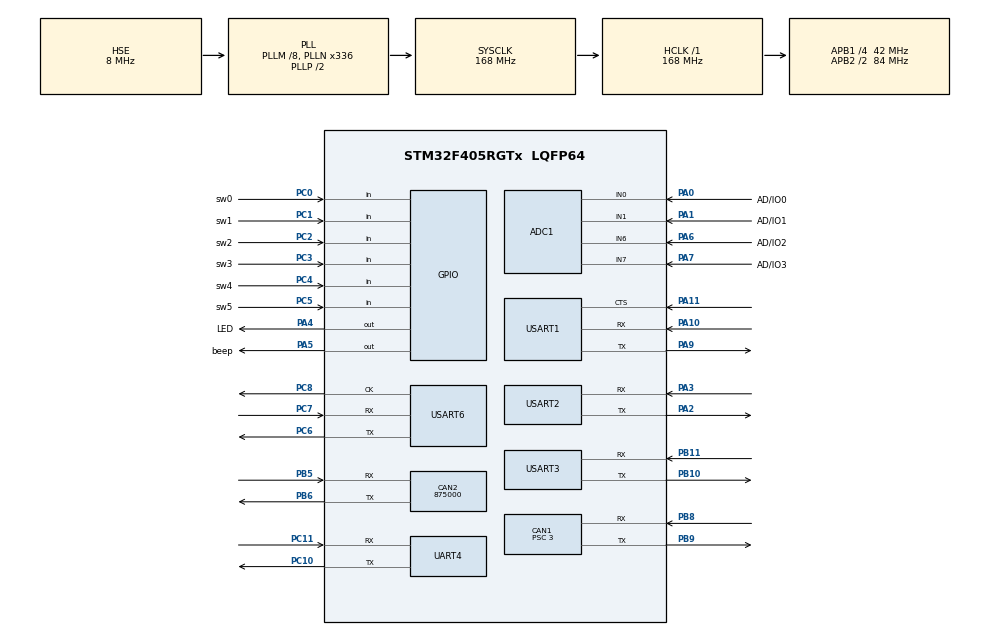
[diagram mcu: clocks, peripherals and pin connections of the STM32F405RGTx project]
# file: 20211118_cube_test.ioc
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ADC1.Channel-2\#ChannelRegularConversion=ADC_CHANNEL_1
ADC1.Channel-3\#ChannelRegularConversion=ADC_CHANNEL_0
ADC1.ContinuousConvMode=DISABLE
ADC1.DiscontinuousConvMode=ENABLE
ADC1.NbrOfConversion=2
ADC1.NbrOfConversionFlag=1
ADC1.Rank-2\#ChannelRegularConversion=1
ADC1.Rank-3\#ChannelRegularConversion=2
ADC1.SamplingTime-2\#ChannelRegularConversion=ADC_SAMPLETIME_480CYCLES
ADC1.SamplingTime-3\#ChannelRegularConversion=ADC_SAMPLETIME_3CYCLES
ADC1.ScanConvMode=ENABLE
ADC1.master=1
CAN1.BS1=CAN_BS1_9TQ
CAN1.BS2=CAN_BS2_4TQ
CAN1.CalculateBaudRate=1000000
CAN1.CalculateTimeBit=1000
CAN1.CalculateTimeQuantum=71.42857142857143
CAN1.Prescaler=3
CAN2.BS1=CAN_BS1_1TQ
CAN2.BS2=CAN_BS2_1TQ
CAN2.CalculateBaudRate=875000
CAN2.CalculateTimeBit=1142
CAN2.CalculateTimeQuantum=380.95238095238096
Mcu.Family=STM32F4
Mcu.Name=STM32F405RGTx
Mcu.Package=LQFP64
NVIC.CAN1_RX0_IRQn=true\:0\:0\:false\:false\:true\:true\:true\:true
NVIC.CAN1_TX_IRQn=true\:0\:0\:false\:false\:true\:true\:true\:true
NVIC.PriorityGroup=NVIC_PRIORITYGROUP_4
NVIC.TIM2_IRQn=true\:0\:0\:false\:false\:true\:true\:true\:true
NVIC.UART4_IRQn=true\:0\:0\:false\:true\:true\:1\:true\:true\:true
NVIC.USART3_IRQn=true\:0\:0\:false\:true\:true\:2\:true\:true\:true
PA0-WKUP.GPIO_Label=AD/IO0
PA0-WKUP.GPIO_Mode=GPIO_MODE_ANALOG
PA0-WKUP.Signal=ADCx_IN0
PA1.GPIO_Label=AD/IO1
PA1.Signal=ADCx_IN1
PA10.Mode=Asynchronous
PA10.Signal=USART1_RX
PA11.Mode=CTS_Only
PA11.Signal=USART1_CTS
PA13.Mode=JTAG_5_pins
PA13.Signal=SYS_JTMS-SWDIO
PA14.Mode=JTAG_5_pins
PA14.Signal=SYS_JTCK-SWCLK
PA15.Mode=JTAG_5_pins
PA15.Signal=SYS_JTDI
PA2.Mode=Asynchronous
PA2.Signal=USART2_TX
PA3.Mode=Asynchronous
PA3.Signal=USART2_RX
PA4.GPIO_Label=LED
PA4.Signal=GPIO_Output
PA5.GPIO_Label=beep
PA5.Signal=GPIO_Output
PA6.GPIO_Label=AD/IO2
PA6.Signal=ADCx_IN6
PA7.GPIO_Label=AD/IO3
PA7.Signal=ADCx_IN7
PA9.Mode=Asynchronous
PA9.Signal=USART1_TX
PB10.Mode=Asynchronous
PB10.Signal=USART3_TX
PB11.Mode=Asynchronous
PB11.Signal=USART3_RX
PB3.Mode=JTAG_5_pins
PB3.Signal=SYS_JTDO-SWO
PB4.Mode=JTAG_5_pins
PB4.Signal=SYS_JTRST
PB5.Mode=CAN_Activate
PB5.Signal=CAN2_RX
PB6.Mode=CAN_Activate
PB6.Signal=CAN2_TX
PB8.Mode=CAN_Activate
PB8.Signal=CAN1_RX
PB9.Mode=CAN_Activate
PB9.Signal=CAN1_TX
PC0.GPIO_Label=sw0
PC0.Signal=GPIO_Input
PC1.GPIO_Label=sw1
PC1.Signal=GPIO_Input
PC10.Mode=Asynchronous
PC10.Signal=UART4_TX
PC11.Mode=Asynchronous
PC11.Signal=UART4_RX
PC13-ANTI_TAMP.Signal=RTC_AF1
PC2.GPIO_Label=sw2
PC2.Signal=GPIO_Input
PC3.GPIO_Label=sw3
PC3.Signal=GPIO_Input
PC4.GPIO_Label=sw4
PC4.Signal=GPIO_Input
PC5.GPIO_Label=sw5
PC5.Signal=GPIO_Input
PC6.Mode=Synchronous
PC6.Signal=USART6_TX
PC7.Mode=Synchronous
PC7.Signal=USART6_RX
PC8.Mode=Synchronous
PC8.Signal=USART6_CK
PH0-OSC_IN.Mode=HSE-External-Oscillator
PH0-OSC_IN.Signal=RCC_OSC_IN
PH1-OSC_OUT.Mode=HSE-External-Oscillator
PH1-OSC_OUT.Signal=RCC_OSC_OUT
ProjectManager.HeapSize=0x200
ProjectManager.StackSize=0x400
ProjectManager.TargetToolchain=STM32CubeIDE
RCC.48MHZClocksFreq_Value=48000000
RCC.AHBFreq_Value=168000000
RCC.APB1CLKDivider=RCC_HCLK_DIV4
RCC.APB1Freq_Value=42000000
RCC.APB1TimFreq_Value=84000000
RCC.APB2CLKDivider=RCC_HCLK_DIV2
RCC.APB2Freq_Value=84000000
RCC.APB2TimFreq_Value=168000000
RCC.CortexFreq_Value=168000000
RCC.HCLKFreq_Value=168000000
RCC.HSE_VALUE=8000000
RCC.HSI_VALUE=16000000
RCC.LSE_VALUE=32768
RCC.PLLM=8
RCC.PLLN=336
RCC.PLLQ=7
RCC.PLLSourceVirtual=RCC_PLLSOURCE_HSE
RCC.RCC_RTC_Clock_Source=RCC_RTCCLKSOURCE_LSI
RCC.RCC_RTC_Clock_SourceVirtual=RCC_RTCCLKSOURCE_LSI
RCC.SYSCLKFreq_VALUE=168000000
RCC.SYSCLKSource=RCC_SYSCLKSOURCE_PLLCLK
RCC.VCOOutputFreq_Value=336000000
SH.ADCx_IN0.0=ADC1_IN0,IN0
SH.ADCx_IN1.0=ADC1_IN1,IN1
SH.ADCx_IN6.0=ADC1_IN6,IN6
SH.ADCx_IN7.0=ADC1_IN7,IN7
TIM2.AutoReloadPreload=TIM_AUTORELOAD_PRELOAD_ENABLE
TIM2.Period=41999
TIM2.Prescaler=1
UART4.VirtualMode=Asynchronous
USART1.VirtualMode=VM_ASYNC
USART2.VirtualMode=VM_ASYNC
USART3.VirtualMode=VM_ASYNC
USART6.VirtualMode=VM_SYNC
VP_RNG_VS_RNG.Mode=RNG_Activate
VP_TIM2_VS_ClockSourceINT.Mode=Internal
board=custom

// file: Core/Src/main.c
/* USER CODE BEGIN Header */
/**
 ******************************************************************************
 * @file           : main.c
 * @brief          : Main program body
 ******************************************************************************
 * @attention
 *
 * <h2><center>&copy; Copyright (c) 2021 STMicroelectronics.
 * All rights reserved.</center></h2>
 *
 * This software component is licensed by ST under BSD 3-Clause license,
 * the "License"; You may not use this file except in compliance with the
 * License. You may obtain a copy of the License at:
 *                        opensource.org/licenses/BSD-3-Clause
 *
 ******************************************************************************
 */
/* USER CODE END Header */
#include "main.h"

/* USER CODE BEGIN Includes */
#include <math.h>
#include <stdio.h>
#include <string.h>
#include <stdlib.h>
/* USER CODE END Includes */

ADC_HandleTypeDef hadc1;

CAN_HandleTypeDef hcan1;
CAN_HandleTypeDef hcan2;

RNG_HandleTypeDef hrng;

TIM_HandleTypeDef htim2;

UART_HandleTypeDef huart4;
UART_HandleTypeDef huart1;
UART_HandleTypeDef huart2;
UART_HandleTypeDef huart3;
USART_HandleTypeDef husart6;

/* USER CODE BEGIN PV */

//Tx(Transmitter)
CAN_TxHeaderTypeDef L_MOTOR_ID;  //left motor id
CAN_TxHeaderTypeDef R_MOTOR_ID;  //right motor id

//Rx(Receiver)
CAN_FilterTypeDef sFilterConfig;   // Filter Settings Structure Variables
CAN_RxHeaderTypeDef RxHeader;      //Can Receive Header
uint8_t RxData[8];                 //Can Receive data save

////status
//uint16_t status[2][4] = { 0 };
//uint32_t status_l = 0;
//uint32_t status_r = 0;

//Encoder position variable
uint16_t encoder[2][4] = { 0 }; //Receive encoder data
uint32_t encoder_10_l = 0; //left motor encoder
uint32_t encoder_10_r = 0; //right motor encoder
double encoder_angle_l = 0; //left motor angle
double encoder_angle_r = 0; //right motor angle
float cnt_to_angle = 0.001758;
float deg_l = 0; //left motor degree
float deg_r = 0; //right motor degree

float vel_l = 0.0;
float vel2_l = 0.0;
float vel_r = 0.0;

float ivel_l = 0.0;
float ivel_r = 0.0;
float pre_vel_l = 0.0;
float pre_vel_r = 0.0;
float ivel_l_max = 0.0;
float ivel_r_max = 0.0;
float ivel_l_min = 0.0;
float ivel_r_min = 0.0;

float iivel_l = 0.0;
float iivel_r = 0.0;
float pre_ivel_l = 0.0;
float pre_ivel_r = 0.0;
float iivel_l_max = 0.0;
float iivel_r_max = 0.0;
float iivel_l_min = 0.0;
float iivel_r_min = 0.0;
float trend_l = 0.0;
float trend_r = 0.0;

float pi = 3.14159265359;
float k = 0.0;
float k1 = 0.0;
float kd = 0.0;
float fr = 0.0;
float fl = 0.0;
float alpha = 0.05; //1;  //0.03;  //0.05;

float PHI_l = 0.0;
float PHI_r = 0.0;

float zl = 0.0;
float al = 0.0;
float bl = 0.0;
float zr = 0.0;
float ar = 0.0;
float br = 0.0;

float a1_l = 0.0;
float a2_l = 0.0;
float a3_l = 0.0;
float v1_l = 0.0;
float v2_l = 0.0;
float v3_l = 0.0;
float a1dot_l = 0.0;
float a2dot_l = 0.0;
float v1dot_l = 0.0;
float v2dot_l =0.0;
uint32_t cnt2 = 0;
uint32_t cnt3 = 0;
uint32_t cnt4 = 0;
uint32_t cnt5 = 0;
int af_min_vel = 0;
int bf_min_vel = 0;
int int_min_vel = 0;
int af_min_deg = 0;
int bf_min_deg = 0;
int int_min_deg = 0;

float a1_r = 0.0;
float a2_r = 0.0;
float a3_r = 0.0;
float v1_r = 0.0;
float v2_r = 0.0;
float v3_r = 0.0;
float a1dot_r = 0.0;
float a2dot_r = 0.0;
float v1dot_r = 0.0;
float v2dot_r =0.0;
int af_min_vel2 = 0;
int bf_min_vel2 = 0;
int int_min_vel2 = 0;
int af_min_deg2 = 0;
int bf_min_deg2 = 0;
int int_min_deg2 = 0;

float deg_l_max = 0.0;
float deg_l_min = 0.0;
float deg_r_max = 0.0;
float deg_r_min = 0.0;

float vel_rpm_l_max = 0.0;
float vel_rpm_l_min = 0.0;
float vel_rpm_r_max = 0.0;
float vel_rpm_r_min = 0.0;
float vel_l_max = 0.0;
float vel_l_min = 0.0;
float vel_r_max = 0.0;
float vel_r_min = 0.0;

float trigger1 = 0.0;
float trigger2 = 0.0;

int topo_l = 0;
int topo_r = 0;
int topo = 0;

//VELOCITY variable
uint16_t vel[2][4] = { 0 }; //Receive velocity data
uint16_t vel_10_l = 0; //left motor_vel
uint16_t vel_10_r = 0; //right motor_vel
double velocity_l = 0; //caculation left motor_vel
double velocity_r = 0; //caculation right motor_vel
float vel_rpm_l = 0; //left motor rpm
float vel_rpm_r = 0; //right motor rpm
float ql = 0.0;
float qr = 0.0;
float ql_raw = 0.0;
float qr_raw = 0.0;
float vel_rpm_l_pre = 0.0;
float vel_rpm_r_pre = 0.0;

//motor current
float comp_tl = 0; //left motor torque
float comp_tr = 0; //right motor torque
int Current_l = 0; //caculation Current_left motor
int Current_r = 0; //caculation Current_right motor
float torque_l = 0.0;
float torque_r = 0.0;

//Switch
int SW[6] = { 0 };
int cnt = 0;
int Level = 0;
int Mode = 0;
float deg_l_init = 0.0;
float deg_r_init = 0.0;

//roll = atof(imu1[0]);
//pitch = atof(imu1[1]);
//yaw = atof(imu1[2]);
//vx = atof(imu1[3]);
//vy = atof(imu1[4]);
//vz = atof(imu1[5]);

/* USER CODE END PV */

void SystemClock_Config(void);
static void MX_GPIO_Init(void);
static void MX_ADC1_Init(void);
static void MX_CAN1_Init(void);
static void MX_CAN2_Init(void);
static void MX_RNG_Init(void);
static void MX_UART4_Init(void);
static void MX_USART1_UART_Init(void);
static void MX_USART2_UART_Init(void);
static void MX_USART3_UART_Init(void);
static void MX_USART6_Init(void);
static void MX_TIM2_Init(void);
static void MX_NVIC_Init(void);
/* USER CODE BEGIN PFP */

void BEEP_Fliker_ms(uint16_t ms) {
	HAL_GPIO_TogglePin(beep_GPIO_Port, beep_Pin); //beep on
	//HAL_GPIO_TogglePin(LED_GPIO_Port, LED_Pin); //led on
	HAL_Delay(ms); //delay
	//HAL_GPIO_WritePin(LED_GPIO_Port, LED_Pin, 0); //led off
	HAL_GPIO_WritePin(beep_GPIO_Port, beep_Pin, 0); //beep off
	//TIM_Cmd (TIM5, ENABLE); //TIM control, (Don't use)
}

void MAXON_Init(void) {

	//////CAN TEST
	//Tx Set
	//Need to make DLC 4 type
	L_MOTOR_ID.StdId = 0x601;                 // Standard Identifier, 0 ~ 0x7FF
	//L_MOTOR_ID.ExtId = 0x01;                // Extended Identifier, 0 ~ 0x1FFFFFFF
	L_MOTOR_ID.RTR = CAN_RTR_DATA; // frame type of the message you are sending, DATA or REMOTE
	L_MOTOR_ID.IDE = CAN_ID_STD; // Identifier type of message to send, STD or EXT
	L_MOTOR_ID.DLC = 8;                     // Transmit frame length, 0 ~ 8 byte
	L_MOTOR_ID.TransmitGlobalTime = DISABLE; // Capture the timestamp counter value at the start of frame transmission

	R_MOTOR_ID.StdId = 0x602;                 // Standard Identifier, 0 ~ 0x7FF
	//R_MOTOR_ID.ExtId = 0x01;                // Extended Identifier, 0 ~ 0x1FFFFFFF
	R_MOTOR_ID.RTR = CAN_RTR_DATA; // frame type of the message you are sending, DATA or REMOTE
	R_MOTOR_ID.IDE = CAN_ID_STD; // Identifier type of message to send, STD or EXT
	R_MOTOR_ID.DLC = 8;                     // Transmit frame length, 0 ~ 8 byte
	R_MOTOR_ID.TransmitGlobalTime = DISABLE; // Capture the timestamp counter value at the start of frame transmission

	//RX set
	/* CAN Filter Setting*/
	sFilterConfig.FilterBank = 0;
	sFilterConfig.FilterMode = CAN_FILTERMODE_IDMASK;
	sFilterConfig.FilterScale = CAN_FILTERSCALE_32BIT;
	sFilterConfig.FilterIdHigh = 0x0000;
	sFilterConfig.FilterIdLow = 0x0000;
	sFilterConfig.FilterMaskIdHigh = 0x0000; // 0x00000000 = accept all the IDs
	sFilterConfig.FilterMaskIdLow = 0x0000;
	sFilterConfig.FilterFIFOAssignment = CAN_RX_FIFO0;
	sFilterConfig.FilterActivation = ENABLE;
	sFilterConfig.SlaveStartFilterBank = 14;

	if (HAL_CAN_ConfigFilter(&hcan1, &sFilterConfig) != HAL_OK) {
		/* Filter configuration Error */
		Error_Handler();
	}

	//HAL_Delay(1000);  //wait motor on
	//Send Message
	//development motor : FR, DV, SD, SO, SM, OE
	//other motor : FR, DV, SD, SO, OE, SM
	//left motor
	HAL_CAN_Start(&hcan1);
	//HAL_Delay(1000);  //wait motor on
	HAL_CAN_AddTxMessage(&hcan1, &L_MOTOR_ID, FR, &TxMailbox);
	HAL_Delay(10);
	HAL_CAN_AddTxMessage(&hcan1, &L_MOTOR_ID, DV, &TxMailbox);
	HAL_Delay(10);
	HAL_CAN_AddTxMessage(&hcan1, &L_MOTOR_ID, SD, &TxMailbox);
	HAL_Delay(10);
	HAL_CAN_AddTxMessage(&hcan1, &L_MOTOR_ID, SO, &TxMailbox);
	HAL_Delay(10);
	HAL_CAN_AddTxMessage(&hcan1, &L_MOTOR_ID, SM, &TxMailbox);
	HAL_Delay(10);
	HAL_CAN_AddTxMessage(&hcan1, &L_MOTOR_ID, OE, &TxMailbox);
	HAL_Delay(10);

	//right motor
	HAL_CAN_AddTxMessage(&hcan1, &R_MOTOR_ID, FR, &TxMailbox);
	HAL_Delay(10);
	HAL_CAN_AddTxMessage(&hcan1, &R_MOTOR_ID, DV, &TxMailbox);
	HAL_Delay(10);
	HAL_CAN_AddTxMessage(&hcan1, &R_MOTOR_ID, SD, &TxMailbox);
	HAL_Delay(10);
	HAL_CAN_AddTxMessage(&hcan1, &R_MOTOR_ID, SO, &TxMailbox);
	HAL_Delay(10);
	HAL_CAN_AddTxMessage(&hcan1, &R_MOTOR_ID, SM, &TxMailbox);
	HAL_Delay(10);
	HAL_CAN_AddTxMessage(&hcan1, &R_MOTOR_ID, OE, &TxMailbox);
	HAL_Delay(10);

	HAL_CAN_AddTxMessage(&hcan1, &L_MOTOR_ID, FR, &TxMailbox);
	HAL_Delay(10);
	HAL_CAN_AddTxMessage(&hcan1, &L_MOTOR_ID, DV, &TxMailbox);
	HAL_Delay(10);
	HAL_CAN_AddTxMessage(&hcan1, &L_MOTOR_ID, SD, &TxMailbox);
	HAL_Delay(10);
	HAL_CAN_AddTxMessage(&hcan1, &L_MOTOR_ID, SO, &TxMailbox);
	HAL_Delay(10);
	HAL_CAN_AddTxMessage(&hcan1, &L_MOTOR_ID, SM, &TxMailbox);
	HAL_Delay(10);
	HAL_CAN_AddTxMessage(&hcan1, &L_MOTOR_ID, OE, &TxMailbox);
	HAL_Delay(10);
}

void CAN_GetRxMessage(void) {
	HAL_CAN_GetRxMessage(&hcan1, CAN_RX_FIFO0, &RxHeader, RxData); //Receive can message

	/*Get_Position*/

	//Get_Position Left  (43, 64, 60)
	if ((RxData[0] == 0x43) & (RxData[1] == 0x64) & (RxData[2] == 0x60)
			& (RxHeader.StdId == 0x581))			//PX
			{
		//PX계산 코드.. CAN1Rx_Arr[4~7] Here..
		encoder[0][0] = RxData[4];
		encoder[0][1] = RxData[5];
		encoder[0][2] = RxData[6];
		encoder[0][3] = RxData[7];

		encoder_10_l = (encoder[0][3] << 24) + (encoder[0][2] << 16)
				+ (encoder[0][1] << 8) + encoder[0][0];

		//left motor minus angle

		if (encoder[0][3] == 0x00FF) {
			encoder_angle_l = 0;
			encoder_10_l = encoder_10_l ^ 0xFFFFFFFF; //Using a Conservative XOR for C-language negative conversion
			encoder_angle_l = -((encoder_10_l) * cnt_to_angle);
			//deg_l = (ceil(encoder_angle_l));
			deg_l = round(encoder_angle_l * 100) / 100;
		}
		//left motor plus angle
		else {
			encoder_angle_l = encoder_10_l * cnt_to_angle;
			//deg_l = (ceil(encoder_angle_l));
			deg_l = round(encoder_angle_l * 100) / 100;
		}
	}

	//Get_Position Right
	if ((RxData[0] == 0x43) & (RxData[1] == 0x64) & (RxData[2] == 0x60)
			& (RxHeader.StdId == 0x582)) //PX
			{
		//PX계산 코드.. CAN2Rx_Arr[4~7] Here..
		encoder[1][0] = RxData[4];
		encoder[1][1] = RxData[5];
		encoder[1][2] = RxData[6];
		encoder[1][3] = RxData[7];

		encoder_10_r = (encoder[1][3] << 24) + (encoder[1][2] << 16)
				+ (encoder[1][1] << 8) + encoder[1][0];

		//right motor minuis angle

		if (encoder[1][3] == 0x00FF) {
			encoder_angle_r = 0;
			encoder_10_r = encoder_10_r ^ 0xFFFFFFFF; //Using a Conservative XOR for C-language negative conversion
			encoder_angle_r = -((encoder_10_r) * cnt_to_angle);
			//deg_r = (ceil(encoder_angle_r));
			deg_r = round(encoder_angle_r * 100) / 100;
		}
		//right motor plus angle
		else {
			encoder_angle_r = encoder_10_r * cnt_to_angle;
			//deg_r = (ceil(encoder_angle_r));
			deg_r = round(encoder_angle_r * 100) / 100;
		}
		deg_r = -1 * deg_r;
	}

	/*Get_Velocity*/

	//Get_Velocity Left
	if ((RxData[0] == 0x43) & (RxData[1] == 0x6C) & (RxData[2] == 0x60)
			& (RxHeader.StdId == 0x581)) //VX
			{
		//VX계산 코드.. CAN2Rx_Arr[4~7] Here..

		vel[0][0] = RxData[4];
		vel[0][1] = RxData[5];
		vel[0][2] = RxData[6];
		vel[0][3] = RxData[7];

		vel_10_l = (vel[0][3] << 24) + (vel[0][2] << 16) + (vel[0][1] << 8)
				+ vel[0][0];

		if (vel[0][3] == 0x00FF) {
			velocity_l = 0;
			vel_10_l = vel_10_l ^ 0xFFFFFFFF;
			velocity_l = -vel_10_l;
			vel_rpm_l = velocity_l / 100;
		} else {
			velocity_l = vel_10_l;
			vel_rpm_l = velocity_l / 100;
		}

	}

	//Get_Velocity Right
	if ((RxData[0] == 0x43) & (RxData[1] == 0x6C) & (RxData[2] == 0x60)
			& (RxHeader.StdId == 0x582)) //VX
			{
		//VX계산 코드.. CAN2Rx_Arr[4~7] Here..

		vel[1][0] = RxData[4];
		vel[1][1] = RxData[5];
		vel[1][2] = RxData[6];
		vel[1][3] = RxData[7];

		vel_10_r = (vel[1][3] << 24) + (vel[1][2] << 16) + (vel[1][1] << 8)
				+ vel[1][0];

		if (vel[1][3] == 0x00FF) {
			velocity_r = 0;
			vel_10_r = vel_10_r ^ 0xFFFFFFFF;
			velocity_r = -vel_10_r;
			vel_rpm_r = velocity_r / 100;
		} else {
			velocity_r = vel_10_r;
			vel_rpm_r = velocity_r / 100;
		}

		vel_rpm_r = -1 * vel_rpm_r;

	}

	HAL_Delay(0.01);

}

// CAN ?��?�� ?��?��?��?�� 콜백, ?��?�� ?��급을 ?��?��?��?�� ?��?��?�� ?��?���?????????? ?��?��?�� ?��?���?????????? ?��?��?��건�? ?�� 모르겠음

//void HAL_CAN_RxFifo0MsgPendingCallback(CAN_HandleTypeDef *CanHandle) {
//	/* Get RX message */
//	if (HAL_CAN_GetRxMessage(CanHandle, CAN_RX_FIFO0, &RxHeader, RxData)
//			!= HAL_OK) {
//		/* Reception Error */
//		Error_Handler();
//	}
//
//}

/* USER CODE END PFP */

/* USER CODE BEGIN 0 */

//adc 1channel
uint16_t value;

//adc 2channel
float adcVal[2] = { 0 };

//BLUETOOTH
unsigned char RxBuffer[10]; // Rx Buffer
unsigned char B_data[10]; //RxBuffer -> Bluetooth save data
char ble_write_buff[256]; //Bluetooth send data

//AT data
char bluetooth1[] = "+++";
char bluetooth2[] = "\r";
char bluetooth3[] = "AT+BTUART=115200\r";
char bluetooth4[] = "AT+BTNAME=HECTOR H30A\r";
char bluetooth5[] = "ATZ\r";

//BLE flag
int Rx_IRQ = 0; //Need to produce IRQ later
int b_num = 0;  //Bluetooth save data arrange number
int data_send_toggle = 0; //bluetooth send flag

//IMU DATA
char imu[10] = { 0 }; //IMUdata - get it first time and save it one by one
char imu_data[60] = { 0 }; //IMUdata - Alignment
double imu_d[10] = { 0 }; //Data converted to double
char *addr; //"," cut and Temporary data storage

//Final IMU data storage
float roll = 0.00f;
float pitch = 0.00f;
float yaw = 0.00f;
float vx = 0.00f;
float vy = 0.00f;
float vz = 0.00f;
float v = 0.00f;

//IMU flag
int imu_num = 0; //IMU save data arrange number
int stop = 0;

void HAL_UART_RxCpltCallback(UART_HandleTypeDef *huart) {

   ////BLE Interrupt
   if (huart->Instance == UART4) {

      B_data[b_num] = RxBuffer[0];
      b_num++;
      if (b_num == 9) {
         b_num = 0;
      }
      //1by1 check
      char *B_T = strstr(RxBuffer, "T");
      char *B_O = strstr(RxBuffer, "O");
      char *B_G = strstr(RxBuffer, "G");
      char *B_L = strstr(RxBuffer, "L");
      char *B_E = strstr(RxBuffer, "E");
      char *check_1 = strstr(RxBuffer, "1");
      char *check_2 = strstr(RxBuffer, "2");
      char *check_0 = strstr(RxBuffer, "0");

      if (B_T != NULL && data_send_toggle == 0) {
         data_send_toggle = 1;
      }

      if (B_O != NULL && data_send_toggle == 1) {
         data_send_toggle = 2;
      }
      if (B_G != NULL && data_send_toggle == 2) {
         data_send_toggle = 3;
      }

      if (B_G != NULL && data_send_toggle == 3) {
         data_send_toggle = 4;
      }
      if (B_L != NULL && data_send_toggle == 4) {
         data_send_toggle = 5;
      }
      if (B_E != NULL && data_send_toggle == 5) {
         data_send_toggle = 6;
      }

      if (check_1 != NULL && data_send_toggle == 6) { //check "1"
         data_send_toggle = 7;
      }

      if (check_2 != NULL && data_send_toggle == 6) { //check "2"
         data_send_toggle = 8;
      }

      if (check_0 != NULL && data_send_toggle == 7) { //check "0"
              data_send_toggle = 0;
      }

      if (check_0 != NULL && data_send_toggle == 8) { //check "0"
              data_send_toggle = 0;
      }

      HAL_UART_Receive_IT(&huart4, RxBuffer, 1);
   } //huart->Instance == UART4

   ////IMU Interrupt
   if (huart->Instance == USART3) {

      char *check_start = strstr(imu, "*");
      char *check_start2 = strstr(imu_data, "*");
      char *check_comma = strstr(imu, ",");

      if (check_start != NULL) { //check "*"
         imu_num = 0; //save data number Initialization
      }

      else { //IMU data
         imu_data[imu_num] = imu[0];

         if (imu_data[imu_num] == 0x0A) { //check "/n" / character : LF
            addr = strtok(imu_data, ","); //cut data from the ","

            for (int i = 0; i < 3; i++) {
               imu_d[i] = atof(addr); //Converting characters to double
               addr = strtok(NULL, ","); //Cut it over and over, by result NULL
            }

            //distribute data
            roll = imu_d[0];
            pitch = imu_d[1];
            yaw = imu_d[2];
            //vx = imu_d[3];
            //vy = imu_d[4];
            //vz = imu_d[5];
            //v = sqrt(vx * vx + vy * vy + vz * vz); //Calculating the speed

            //if (fabs(v) <= 0) {
            //   stop = 1;
            //} else {
            //   stop = 0;
            //}
         }

         imu_num++;
      }
      HAL_UART_Receive_IT(&huart3, imu, 1);
   }
}

//void USART4_IRQHandler(void) {
//
//	Rx_IRQ++;
//	HAL_UART_IRQHandler(&huart4);
//	HAL_GPIO_WritePin(LED_GPIO_Port, LED_Pin, 0); //led off
//
//}

//TIM Interrupt
float time_sec = 0;
float Counter = 0;
float tenms = 0.0;

//Timer Interrupt
void HAL_TIM_PeriodElapsedCallback(TIM_HandleTypeDef *htim) {
	if (htim->Instance == htim2.Instance) {
		Counter++;
		time_sec = Counter / 1000;
		tenms = Counter / 100;
	}
}

//Need to analyze the contents.I don't understand exactly.
#ifdef __GNUS__
/* With GCC, small printf (option LD Linker->Libraries->Small printf
 * set to 'Yes') calls__io_putchar(int ch)
 */

#define PUTCHAR_PROTOTYPE int __io_putchar(int ch)
#else
#define PUTCHAR_PROTOTYPE int fputc(int ch, FILE *f)
#endif /*__GNUC__*/

/**
 * @brief Retargets the C library printf function to the USART.
 * @param None
 * @retval None
 */
//Check the defined format. --CAN Receive example //???????
//PUTCHAR_PROTOTYPE {
//	if (ch == '\n') {
//		HAL_UART_Transmit(&husart6, (uint8_t*) "\r", 1, 0xFFFF);
//		HAL_UART_Transmit(&husart6, (uint8_t*) &ch, 1, 0xFFFF);
//	}
//
//	return ch;
//
//}
/* USER CODE END 0 */

int main(void) {

	/* MCU Configuration--------------------------------------------------------*/

	/* Reset of all peripherals, Initializes the Flash interface and the Systick. */
	HAL_Init();

	/* Configure the system clock */
	SystemClock_Config();

	/* Initialize all configured peripherals */
	MX_GPIO_Init();
	MX_ADC1_Init();
	MX_CAN1_Init();
	MX_CAN2_Init();
	MX_RNG_Init();
	MX_UART4_Init();
	MX_USART1_UART_Init();
	MX_USART2_UART_Init();
	MX_USART3_UART_Init();
	MX_USART6_Init();
	MX_TIM2_Init();
	MX_UART4_Init();

	/* Initialize interrupts */
	MX_NVIC_Init();
	/* USER CODE BEGIN 2 */
	//HAL_UART_Receive_IT(&huart4, &RxBuffer, 6);
	HAL_TIM_Base_Start_IT(&htim2);

// Setting Ready
	HAL_GPIO_TogglePin(LED_GPIO_Port, LED_Pin);  //LED ON
	MAXON_Init(); //SET motor CAN
	//HAL_Delay(1000);  //wait motor on

	//BEEP_Fliker_ms(17); //Beep 17ms

	HAL_UART_Receive_IT(&huart4, RxBuffer, 1); //Bluetooth Receive Interrupt
	HAL_UART_Receive_IT(&huart3, imu, 1); //IMU Receive Interrupt
	HAL_Delay(1000);  //wait motor on
	MAXON_Init(); //SET motor CAN
	BEEP_Fliker_ms(17); //Beep 17ms

//		}
//	}

	/* USER CODE END 2 */

	/* Infinite loop */
	/* USER CODE BEGIN WHILE */

	while (1) {

		//////////////////////////////////////////Switch START
		SW[0] = HAL_GPIO_ReadPin(sw0_GPIO_Port, sw0_Pin); //left
		SW[1] = HAL_GPIO_ReadPin(sw1_GPIO_Port, sw1_Pin); //left
		//SW[2] = HAL_GPIO_ReadPin(sw2_GPIO_Port, sw2_Pin); //left -not use
		SW[3] = HAL_GPIO_ReadPin(sw3_GPIO_Port, sw3_Pin); //right
		SW[4] = HAL_GPIO_ReadPin(sw4_GPIO_Port, sw4_Pin); //right
		//SW[5] = HAL_GPIO_ReadPin(sw5_GPIO_Port, sw5_Pin); //right -not use

		cnt++;
		//if (cnt >= 10000) {
			//cnt = 0;
		//}

		if ((SW[0] == 0) & (cnt % 45 == 0)) {

			Level = Level + 1;

			if (Level == 0) {
				BEEP_Fliker_ms(17);
			}
			if (Level == 1) {
				BEEP_Fliker_ms(17);
				HAL_Delay(300);
				BEEP_Fliker_ms(17);
			}
			if (Level == 2) {
				BEEP_Fliker_ms(17);
				HAL_Delay(300);
				BEEP_Fliker_ms(17);
				HAL_Delay(300);
				BEEP_Fliker_ms(17);
			}

			if (Level > 2) {
				Level = 2;
			}
		}

		if ((SW[1] == 0) & (cnt % 45 == 0)) {

			Level = Level - 1;
			if (Level == 0) {
				BEEP_Fliker_ms(17);
			}
			if (Level == 1) {
				BEEP_Fliker_ms(17);
				HAL_Delay(300);
				BEEP_Fliker_ms(17);
			}
			if (Level == 2) {
				BEEP_Fliker_ms(17);
				HAL_Delay(300);
				BEEP_Fliker_ms(17);
				HAL_Delay(300);
				BEEP_Fliker_ms(17);
			}
			if (Level < 0) {
				Level = 0;
			}
		}

		if ((SW[3] == 0) & (cnt % 45 == 0)) {
			Mode = Mode + 1;
			BEEP_Fliker_ms(17);
			if (Mode > 1) {
				Mode = 1;
			}
		}

		if ((SW[4] == 0) & (cnt % 45 == 0)) {
			//Mode = Mode +2;
			BEEP_Fliker_ms(17);
			Mode = 0;
		}

		//Level = 0;
		//Mode = 0;

		if (Level == 0) {
			k = 0.08;
			k1 = 0.1;
		}

		if (Level == 1) {
			k = 0.1;
			k1 = 0.15;
		}

		if (Level == 2) {
			k = 0.15;
			k1 = 0.2;
		}

		if (Level == -1) {
			k = -0.05;
			kd = 0;
			fr = 0;
			fl = 0;
		}

		if (Level == -2) {
			k = -0.15;
			kd = 0;
			fr = 0;
			fl = 0;
		}

		/////////////////////////////////////////BLE START

		uint16_t ccc = Counter;

		if (data_send_toggle == 7 && (ccc % 2 == 0)) { //send data to PC

			sprintf(ble_write_buff,
					"\r\nDATA|{\"0\":%.3f, \"1\":%.2f, \"2\":%.2f, \"3\":%.2f, \"4\":%.2f, \"5\":%.2f, \"6\":%.2f, \"7\":%.2f, \"8\":%d, \"9\":%d}\r\n",
					time_sec, a3_l*180/pi, a3_r*180/pi, vel_rpm_l, vel_rpm_r, roll, pitch, yaw, topo_l, topo_r);

			HAL_UART_Transmit_IT(&huart4, &ble_write_buff, strlen(&ble_write_buff)); //Not set

		} else if (data_send_toggle == 8 && (cnt % 10 == 0)) { //send data to mobile

			sprintf(ble_write_buff, "\\r\\nDATA|{\"1\":%.2f, \"2\":%.2f}\\r\\n",
					a3_l*180/pi, a3_r*180/pi);

			HAL_UART_Transmit(&huart4, &ble_write_buff, strlen(&ble_write_buff),
					100);
		}

		//////////////////////////////////////////CAN START
		CAN_GetRxMessage();  //Receive can message

		//Position Command_left (40, 64, 60, 00)
		HAL_CAN_AddTxMessage(&hcan1, &L_MOTOR_ID, GP, &TxMailbox); //Transmit can massage
		CAN_GetRxMessage(); //Receive can message

		//Position Command_right (40, 64, 60, 00)
		HAL_CAN_AddTxMessage(&hcan1, &R_MOTOR_ID, GP, &TxMailbox); //Transmit can massage
		CAN_GetRxMessage(); //Receive can message

		//Velocity Command_left (40, 6C, 60, 00)
		HAL_CAN_AddTxMessage(&hcan1, &L_MOTOR_ID, GV, &TxMailbox); //Transmit can massage
		CAN_GetRxMessage(); //Receive can message

		//Velocity Command_right (40, 6C, 60, 00)
		HAL_CAN_AddTxMessage(&hcan1, &R_MOTOR_ID, GV, &TxMailbox); //Transmit can massage
		CAN_GetRxMessage(); //Receive can message

		//write current

		//-----------------------모드 0 : 현재 각도를 조기 각도로 설정 ----------------------//
		// 버튼을 한번 누름으로써 초기 각도를 설정한다
		if (Mode == 0) {

			deg_l_init = deg_l;
			deg_r_init = deg_r;
			comp_tl = 0;
			comp_tr = 0;

		}

		    if (Mode == 1) { //left Admittance control + AAN 현재 되있지 않음.

		    	deg_l = deg_l - deg_l_init;
		    	deg_r = deg_r - deg_r_init;

		    	float qvl_raw = 0.0;
		    	float qvr_raw = 0.0;

		    	qvl_raw = vel_rpm_l;
		    	vel_rpm_l = (1 - alpha) * vel_rpm_l_pre + alpha * qvl_raw; //LPF
		    	qvr_raw = vel_rpm_r;
		    	vel_rpm_r = (1 - alpha) * vel_rpm_r_pre + alpha * qvr_raw; //LPF

		    	vel_l = vel_rpm_l * 0.10472; // - trend_l;
		    	vel_r = vel_rpm_r * 0.10472; // - trend_r;

		    	ivel_l = 0.5 * (2*ivel_l + pre_vel_l + vel_l); // - (ivel_l_max + ivel_l_min)/2;
		    	pre_vel_l = vel_l;
		    	ivel_r = 0.5 * (2*ivel_r + pre_vel_r + vel_r); // - (ivel_r_max + ivel_r_min)/2;
		    	pre_vel_r = vel_r;

		    	//ivel_l = (deg_l * pi / 180) - (deg_l_max + deg_l_min)/2;

		    	iivel_l = 0.5 * (2*iivel_l + pre_ivel_l + ivel_l); // - (vel_l_max + vel_l_min)/2;
		    	pre_ivel_l = ivel_l;
		    	iivel_r = 0.5 * (2*iivel_r + pre_ivel_r + ivel_r); // - (iivel_r_max + iivel_r_min)/2;
		    	pre_ivel_r = ivel_r;

		    	//vel2_l = iivel_l - (vel_l_max + vel_l_min)/2;

		    	            a1_l = a2_l;
		    	            a2_l = a3_l;
		    	            v1_l = v2_l;
		    			    v2_l = v3_l;

						   //degree to radian
		    	           a3_l = deg_l*pi/180;

		    	           v3_l = vel_l;
		    	           //v3_l = iivel_l;

		    	           a1dot_l = a2_l-a1_l;
		    	           a2dot_l = a3_l-a2_l;
		    	           v1dot_l = v2_l-v1_l;
		    	           v2dot_l = v3_l-v2_l;

		    			   if ((a1dot_l > 0 && a2dot_l <= 0) && (v2_l > 0.15) && (v2dot_l <= 0)) { // Max angle
		    			     deg_l_max = a2_l;
		    			   }

		    			   if ((a1dot_l < 0 && a2dot_l >= 0) && (v2_l < 0) && (v2dot_l > 0)) {     // % Min angle
		    			      //deg_l_min = a2_l;

		    			      cnt4 = cnt4 + 1;

		    			      if (cnt4 > 1) {
		    			         af_min_deg = cnt-1;   //% after period of min_vel
		    			         bf_min_deg = int_min_deg;

		    			          if (abs(af_min_deg - bf_min_deg) < 10) {

		    			          }

		    			          else {
		    			            deg_l_min = a2_l;
		    			          }

		    			          int_min_deg = cnt-1;

		    			       }

		    			       else {
		    			           //int_min_vel = cnt-1;       //% before period of min_vel
		    			           deg_l_min = a2_l;
		    			       }

		    			     }

		    			     if ((v1dot_l > 0 && v2dot_l <= 0) && (a2_l > 0) && (a2dot_l > 0)) {    // % Max velocity
		    			         vel_l_max = v2_l;
		    			     }
		    			            //if ((v1dot_l < 0 && v2dot_l > 0)) {
		    			            	//vel_l_min = v2_l;
		    			            //}

		    			     if ((v1dot_l < 0 && v2dot_l > 0) && (v2_l < 0)) {   //  % Min velocity
		    			         cnt2 = cnt2 + 1;

		    			         if (cnt2 > 1) {
		    			            af_min_vel = cnt-1;   //% after period of min_vel
		    			            bf_min_vel = int_min_vel;

		    			            if (abs(af_min_vel - bf_min_vel) < 50) {

		    			                            //vel_l_min = v2_l;
		    			            }

		    			            else {
		    			                vel_l_min = v2_l;
		    			            }

		    			            int_min_vel = cnt-1;
		    			          }

		    			          else {
		    			                     //int_min_vel = cnt-1;       //% before period of min_vel
		    			             vel_l_min = v2_l;
		    			          }

		    			      }

								//left Admittance control + AAN 현재 되있지 않음.

								    a1_r = a2_r;
		    			            a2_r = a3_r;
		    			            v1_r = v2_r;
		    			            v2_r = v3_r;

		    			            a3_r = deg_r*pi/180;

		    			            v3_r = vel_r;

		    			            a1dot_r = a2_r-a1_r;
		    			            a2dot_r = a3_r-a2_r;

		    			            v1dot_r = v2_r-v1_r;
		    			            v2dot_r = v3_r-v2_r;

		    			            if ((a1dot_r > 0 && a2dot_r <= 0) && (v2_r > 0.15) && (v2dot_r <= 0)) { // Max angle
		    			            	deg_r_max = a2_r;
		    			            }

		    			            if ((a1dot_r < 0 && a2dot_r >= 0) && (v2_r < 0) && (v2dot_r > 0)) {     // % Min angle
		    			            	//deg_r_min = a2_r;

		    			            	cnt5 = cnt5 + 1;

		    			            	if (cnt5 > 1) {
		    			            		af_min_deg2 = cnt-1;   //% after period of min_vel
		    			            		bf_min_deg2 = int_min_deg2;

		    			            		if (abs(af_min_deg2 - bf_min_deg2) < 10) {

		    			            		}

		    			            		else {
		    			            			deg_r_min = a2_r;
		    			            		}

		    			            		int_min_deg2 = cnt-1;

		    			            	}

		    			            	else {
		    			            	//int_min_vel = cnt-1;       //% before period of min_vel
		    			            		deg_r_min = a2_r;
		    			            	}

		    			            }

		    			            if ((v1dot_r > 0 && v2dot_r <= 0) && (a2_r > 0) && (a2dot_r > 0)) {    // % Max velocity
		    			            	vel_r_max = v2_r;
		    			            }

		    			            if ((v1dot_r < 0 && v2dot_r > 0) && (v2_r < 0)) {   //  % Min velocity
		    			            	cnt3 = cnt3 + 1;

		    			            	if (cnt3 > 1) {
		    			            		af_min_vel2 = cnt-1;   //% after period of min_vel
		    			            		bf_min_vel2 = int_min_vel2;

		    			            		if (abs(af_min_vel2 - bf_min_vel2) < 50) {

		    			            		    //vel_l_min = v2_l;

		    			            		}

		    			            		else {
		    			            		    vel_r_min = v2_r;
		    			            		}

		    			            		int_min_vel2 = cnt-1;

		    			            	}

		    			            	else {
		    			            		//int_min_vel = cnt-1;       //% before period of min_vel
		    			            		vel_r_min = v2_r;
		    			            	}

		    			            }

		    			    if (fabs(ivel_l) <= 0.2) {

		    			    }
		    			    if (fabs(ivel_r) <= 0.2) {

		    			    }
		    			    trend_l = (vel_l_max + vel_l_min)/2;
		    			    trend_r = (vel_r_max + vel_r_min)/2;

		    			    if (fabs(vel_l) <= 0.2) {
		    			    	trend_l = 0;
		    			    }
		    			    if (fabs(vel_r) <= 0.2) {
		    			    	trend_r = 0;
		    			    }

		    			    trigger1 = round(PHI_l *100);
		    			    trigger2 = round(PHI_r *100);

		    			    if ((trigger1 == 25) || (trigger1 == 50) || (trigger1 == 75) || (trigger1 == 0)) { //normalizing factor

		    			    	if ((vel_l_max ==  vel_l_min) || (deg_l_max == deg_l_min)) {
		    			        zl = 0;
		    			      }

		    			      else {
		    			      zl = fabs(vel_l_max - vel_l_min) / (fabs(deg_l_max - deg_l_min));
		    			      }

		    			      al = (fabs(deg_l_max + deg_l_min))/2;
		    			      bl = fabs(vel_l_max + vel_l_min)/2;

		    			    }

		    			    if ((trigger2 == 25) || (trigger2 == 50) || (trigger2 == 75) || (trigger2 == 0)) { //normalizing factor

		    			      if ((vel_r_max ==  vel_r_min) || (deg_r_max == deg_r_min)) {
		    			        zr = 0;
		    			      }

		    			      else {
		    			      zr = fabs(vel_r_max - vel_r_min) / (fabs(deg_r_max - deg_r_min));
		    			      }

		    			      ar = (fabs(deg_r_max + deg_r_min))/2;
		    			      br = fabs(vel_r_max + vel_r_min)/2;

		    			    }
		    			      PHI_l = atan2(zl * (deg_l * pi / 180 -al), vel_l -bl)/2/pi;

		    			      PHI_r = atan2(zr * (deg_r * pi / 180 -ar), vel_r -br)/2/pi;

		    			    if (PHI_l < 0) {
		    			      PHI_l = PHI_l + 1;
		    			    }

		    			    if (PHI_r < 0) {
		    			      PHI_r = PHI_r + 1;
		    			    }

		    			     if ((PHI_l > 0.95) & (PHI_l <= 1)) {

		    			    }

		    			    if ((PHI_r > 0.95) & (PHI_r <= 1)) {

		    			    }

		      				topo_r = 0;
		      				topo_l = 0;

		        			if ((vel_rpm_l == 0) || (vel_rpm_r ==0)) {
		        			comp_tl = 0;
		        			comp_tr = 0;
		        			}

		         //계단 오르막 결정

		       				 if ((deg_l_min >= 5*pi/180) & ((deg_l_max-deg_l_min) >= 50*pi/180) & (deg_l_max >= 45*pi/180)) {

		          			topo_l = 1;

		        			}

		        			if ((deg_r_min >= 5*pi/180) & ((deg_r_max-deg_r_min) >= 50*pi/180) & (deg_r_max >= 45*pi/180)) {

		          			topo_r = 1;

		        			}

		        //계단 내리막 결정

		        			if ((deg_l_min > 5*pi/180) & ((deg_l_max-deg_l_min) < 50*pi/180) & (deg_l_max >= 40*pi/180)) {

		        			topo_l = 3;

		        			}

		        			if ((deg_r_min > 5*pi/180) & ((deg_r_max-deg_r_min) < 50*pi/180) & (deg_r_max >= 40*pi/180)) {

		            		topo_r = 3;

		        		    }

		        			topo = topo_l + topo_r;

		        if (topo_l == 1) { //계단 오르막 지원

		          if ((PHI_l >= 0.2) & (PHI_l <= 0.45)) {

		          comp_tl = -k * fabs(deg_l*1.4) -4;

		         }
		        }

		        if (topo_r == 1) { //계단 오르막 지원

		          if ((PHI_r >= 0.2) & (PHI_r <= 0.45)) {

		          comp_tr = -k * fabs(deg_r*1.4) -4;

		         }

		        }

		        if (topo_l == 3) { //계단 내리막 지원

		           	if ((PHI_l >= 0.65) & (PHI_l <= 1)) {

		        		comp_tl = fabs(vel_rpm_l * 1.2) * -k;
		        	}

		        	if ((PHI_l >= 0) & (PHI_l <= 0.1)) {

		        		comp_tl = fabs(vel_rpm_l * 1.2) * -k;
		        	}
		        }

		        if (topo_r == 3) { //계단 내리막 지원

		        	if ((PHI_r >= 0.65) & (PHI_r <= 1)) {

		        	    comp_tr = fabs(vel_rpm_r) * -k;

		        	}

		        	if ((PHI_r >= 0) & (PHI_r <= 0.1)) {

		        		comp_tr = fabs(vel_rpm_r) * -k;
		        	}

		        }

		        // 평지
		        if (topo_l == 0) {

		        	if ((PHI_l >= 0.65) & (PHI_l <= 1)) {

		        		comp_tl= fabs(vel_rpm_l) * k1 +2;
		        	}

		        	if ((PHI_l >= 0) & (PHI_l <= 0.15)) {

		        		comp_tl= fabs(vel_rpm_l) * k1 +2;
		        	}

		        }

		        if (topo_r == 0) {

		        	if ((PHI_r >= 0.65) & (PHI_r <= 1)) {

		        		comp_tr= fabs(vel_rpm_r) * k1 +2;
		        	}

		        	if ((PHI_r >= 0) & (PHI_r <= 0.15)) {

		        		comp_tr= fabs(vel_rpm_r) * k1 +2;
		        	}

		        }

		      if((vel_rpm_l < 1) & (vel_rpm_l > -1) & (deg_l <= 20) & (deg_l >= -10))
		      {
		        comp_tl = 0;
		      }

		      if((vel_rpm_r < 1) & (vel_rpm_r > -1) & (deg_r <= 20) & (deg_r >= -10))

			   {

		        comp_tr = 0;

		       }

		      stop = 0;
		      if(stop == 1) {
		        comp_tl = 0;
		        comp_tr = 0;
		       }

		    }

		    if (Mode == 2) {  //서기

		      if (((vel_rpm_l < -5) & (deg_l >= 0)) & ((vel_rpm_r < -5) & (deg_r >= 0))) {

		        comp_tl = fabs(deg_l) * -k * 0.8;
		        comp_tr = fabs(deg_r) * -k * 0.8;

		      }
		    }

		      vel_rpm_l_pre = vel_rpm_l;
		      vel_rpm_r_pre = vel_rpm_r;
		//Computed torque

		      torque_l = comp_tl;
		      torque_r = comp_tr;
		comp_tl = comp_tl / 100;  // Harmonic gear
		comp_tl = comp_tl / 0.0369;
		Current_l = floor(comp_tl / 0.00321 + 0.5); // Compensation torque input
		if (Current_l >= 700) {
			Current_l = 700;
		}
		if (Current_l <= -700) {
			Current_l = -700;
		}

		memcpy(&WC_l[4], &Current_l, sizeof(Current_l));
		HAL_CAN_AddTxMessage(&hcan1, &L_MOTOR_ID, WC_l, &TxMailbox); //Transmit can massage
		HAL_Delay(0.01);

		comp_tr = -comp_tr / 100;
		comp_tr = comp_tr / 0.0369;
		Current_r = floor(comp_tr / 0.00321 + 0.5);
		if (Current_r >= 700) {
			Current_r = 700;
		}
		if (Current_r <= -700) {
			Current_r = -700;
		}

		memcpy(&WC_r[4], &Current_r, sizeof(Current_r));
		HAL_CAN_AddTxMessage(&hcan1, &R_MOTOR_ID, WC_r, &TxMailbox); //Transmit can massage
		HAL_Delay(0.01);

		///ADC_2channel code
		HAL_ADC_Start(&hadc1);
		HAL_ADC_PollForConversion(&hadc1, HAL_MAX_DELAY);
		adcVal[0] = HAL_ADC_GetValue(&hadc1);

		HAL_ADC_Start(&hadc1);
		HAL_ADC_PollForConversion(&hadc1, HAL_MAX_DELAY);
		adcVal[1] = HAL_ADC_GetValue(&hadc1);

	}
	/* USER CODE END WHILE */

}

void SystemClock_Config(void) {
	RCC_OscInitTypeDef RCC_OscInitStruct = { 0 };
	RCC_ClkInitTypeDef RCC_ClkInitStruct = { 0 };

	/** Configure the main internal regulator output voltage
	 */
	__HAL_RCC_PWR_CLK_ENABLE();
	__HAL_PWR_VOLTAGESCALING_CONFIG(PWR_REGULATOR_VOLTAGE_SCALE1);

	/** Initializes the RCC Oscillators according to the specified parameters
	 * in the RCC_OscInitTypeDef structure.
	 */
	RCC_OscInitStruct.OscillatorType = RCC_OSCILLATORTYPE_HSE;
	RCC_OscInitStruct.HSEState = RCC_HSE_ON;
	RCC_OscInitStruct.PLL.PLLState = RCC_PLL_ON;
	RCC_OscInitStruct.PLL.PLLSource = RCC_PLLSOURCE_HSE;
	RCC_OscInitStruct.PLL.PLLM = 8;
	RCC_OscInitStruct.PLL.PLLN = 336;
	RCC_OscInitStruct.PLL.PLLP = RCC_PLLP_DIV2;
	RCC_OscInitStruct.PLL.PLLQ = 7;
	if (HAL_RCC_OscConfig(&RCC_OscInitStruct) != HAL_OK) {
		Error_Handler();
	}

	/** Initializes the CPU, AHB and APB buses clocks
	 */
	RCC_ClkInitStruct.ClockType = RCC_CLOCKTYPE_HCLK | RCC_CLOCKTYPE_SYSCLK
			| RCC_CLOCKTYPE_PCLK1 | RCC_CLOCKTYPE_PCLK2;
	RCC_ClkInitStruct.SYSCLKSource = RCC_SYSCLKSOURCE_PLLCLK;
	RCC_ClkInitStruct.AHBCLKDivider = RCC_SYSCLK_DIV1;
	RCC_ClkInitStruct.APB1CLKDivider = RCC_HCLK_DIV4;
	RCC_ClkInitStruct.APB2CLKDivider = RCC_HCLK_DIV2;

	if (HAL_RCC_ClockConfig(&RCC_ClkInitStruct, FLASH_LATENCY_5) != HAL_OK) {
		Error_Handler();
	}
}

/**
 * @brief NVIC Configuration.
 * @retval None
 */
static void MX_NVIC_Init(void) {
	/* UART4_IRQn interrupt configuration */
	HAL_NVIC_SetPriority(UART4_IRQn, 0, 0);
	HAL_NVIC_EnableIRQ(UART4_IRQn);
	/* USART3_IRQn interrupt configuration */
	HAL_NVIC_SetPriority(USART3_IRQn, 0, 0);
	HAL_NVIC_EnableIRQ(USART3_IRQn);
}

static void MX_ADC1_Init(void) {

	ADC_ChannelConfTypeDef sConfig = { 0 };

	/** Configure the global features of the ADC (Clock, Resolution, Data Alignment and number of conversion)
	 */
	hadc1.Instance = ADC1;
	hadc1.Init.ClockPrescaler = ADC_CLOCK_SYNC_PCLK_DIV4;
	hadc1.Init.Resolution = ADC_RESOLUTION_12B;
	hadc1.Init.ScanConvMode = ENABLE;
	hadc1.Init.ContinuousConvMode = DISABLE;
	hadc1.Init.DiscontinuousConvMode = ENABLE;
	hadc1.Init.NbrOfDiscConversion = 1;
	hadc1.Init.ExternalTrigConvEdge = ADC_EXTERNALTRIGCONVEDGE_NONE;
	hadc1.Init.ExternalTrigConv = ADC_SOFTWARE_START;
	hadc1.Init.DataAlign = ADC_DATAALIGN_RIGHT;
	hadc1.Init.NbrOfConversion = 2;
	hadc1.Init.DMAContinuousRequests = DISABLE;
	hadc1.Init.EOCSelection = ADC_EOC_SINGLE_CONV;
	if (HAL_ADC_Init(&hadc1) != HAL_OK) {
		Error_Handler();
	}

	/** Configure for the selected ADC regular channel its corresponding rank in the sequencer and its sample time.
	 */
	sConfig.Channel = ADC_CHANNEL_1;
	sConfig.Rank = 1;
	sConfig.SamplingTime = ADC_SAMPLETIME_480CYCLES;
	if (HAL_ADC_ConfigChannel(&hadc1, &sConfig) != HAL_OK) {
		Error_Handler();
	}

	/** Configure for the selected ADC regular channel its corresponding rank in the sequencer and its sample time.
	 */
	sConfig.Channel = ADC_CHANNEL_0;
	sConfig.Rank = 2;
	sConfig.SamplingTime = ADC_SAMPLETIME_3CYCLES;
	if (HAL_ADC_ConfigChannel(&hadc1, &sConfig) != HAL_OK) {
		Error_Handler();
	}

}

static void MX_CAN1_Init(void) {

	hcan1.Instance = CAN1;
	hcan1.Init.Prescaler = 3;
	hcan1.Init.Mode = CAN_MODE_NORMAL;
	hcan1.Init.SyncJumpWidth = CAN_SJW_1TQ;
	hcan1.Init.TimeSeg1 = CAN_BS1_9TQ;
	hcan1.Init.TimeSeg2 = CAN_BS2_4TQ;
	hcan1.Init.TimeTriggeredMode = DISABLE;
	hcan1.Init.AutoBusOff = DISABLE;
	hcan1.Init.AutoWakeUp = DISABLE;
	hcan1.Init.AutoRetransmission = DISABLE;
	hcan1.Init.ReceiveFifoLocked = DISABLE;
	hcan1.Init.TransmitFifoPriority = DISABLE;
	if (HAL_CAN_Init(&hcan1) != HAL_OK) {
		Error_Handler();
	}

}

static void MX_CAN2_Init(void) {

	hcan2.Instance = CAN2;
	hcan2.Init.Prescaler = 16;
	hcan2.Init.Mode = CAN_MODE_NORMAL;
	hcan2.Init.SyncJumpWidth = CAN_SJW_1TQ;
	hcan2.Init.TimeSeg1 = CAN_BS1_1TQ;
	hcan2.Init.TimeSeg2 = CAN_BS2_1TQ;
	hcan2.Init.TimeTriggeredMode = DISABLE;
	hcan2.Init.AutoBusOff = DISABLE;
	hcan2.Init.AutoWakeUp = DISABLE;
	hcan2.Init.AutoRetransmission = DISABLE;
	hcan2.Init.ReceiveFifoLocked = DISABLE;
	hcan2.Init.TransmitFifoPriority = DISABLE;
	if (HAL_CAN_Init(&hcan2) != HAL_OK) {
		Error_Handler();
	}

}

static void MX_RNG_Init(void) {

	hrng.Instance = RNG;
	if (HAL_RNG_Init(&hrng) != HAL_OK) {
		Error_Handler();
	}

}

static void MX_TIM2_Init(void) {

	TIM_ClockConfigTypeDef sClockSourceConfig = { 0 };
	TIM_MasterConfigTypeDef sMasterConfig = { 0 };

	htim2.Instance = TIM2;
	htim2.Init.Prescaler = 1;
	htim2.Init.CounterMode = TIM_COUNTERMODE_UP;
	htim2.Init.Period = 41999;
	htim2.Init.ClockDivision = TIM_CLOCKDIVISION_DIV1;
	htim2.Init.AutoReloadPreload = TIM_AUTORELOAD_PRELOAD_ENABLE;
	if (HAL_TIM_Base_Init(&htim2) != HAL_OK) {
		Error_Handler();
	}
	sClockSourceConfig.ClockSource = TIM_CLOCKSOURCE_INTERNAL;
	if (HAL_TIM_ConfigClockSource(&htim2, &sClockSourceConfig) != HAL_OK) {
		Error_Handler();
	}
	sMasterConfig.MasterOutputTrigger = TIM_TRGO_RESET;
	sMasterConfig.MasterSlaveMode = TIM_MASTERSLAVEMODE_DISABLE;
	if (HAL_TIMEx_MasterConfigSynchronization(&htim2, &sMasterConfig)
			!= HAL_OK) {
		Error_Handler();
	}

}

static void MX_UART4_Init(void) {

	huart4.Instance = UART4;
	huart4.Init.BaudRate = 9600;
	huart4.Init.WordLength = UART_WORDLENGTH_8B;
	huart4.Init.StopBits = UART_STOPBITS_1;
	huart4.Init.Parity = UART_PARITY_NONE;
	huart4.Init.Mode = UART_MODE_TX_RX;
	huart4.Init.HwFlowCtl = UART_HWCONTROL_NONE;
	huart4.Init.OverSampling = UART_OVERSAMPLING_16;
	if (HAL_UART_Init(&huart4) != HAL_OK) {
		Error_Handler();
	}

	char bluetooth1[] = "+++";
	char bluetooth2[] = "\r";
	char bluetooth3[] = "AT+BTUART=115200\r";
	char bluetooth4[] = "AT+BTNAME=HECTOR H30A3\r";
	char bluetooth5[] = "ATZ\r";

	HAL_UART_Transmit(&huart4, (uint8_t*) bluetooth1, strlen(bluetooth1), 100);
	HAL_Delay(100);

	HAL_UART_Transmit(&huart4, (uint8_t*) bluetooth2, strlen(bluetooth2), 100);
	HAL_Delay(100);

	HAL_UART_Transmit(&huart4, (uint8_t*) bluetooth3, strlen(bluetooth3), 100);
	HAL_Delay(100);

	HAL_UART_Transmit(&huart4, (uint8_t*) bluetooth4, strlen(bluetooth4), 100);
	HAL_Delay(100);

	HAL_UART_Transmit(&huart4, (uint8_t*) bluetooth5, strlen(bluetooth5), 100);
	HAL_Delay(300);

	huart4.Instance = UART4;
	huart4.Init.BaudRate = 115200;
	huart4.Init.WordLength = UART_WORDLENGTH_8B;
	huart4.Init.StopBits = UART_STOPBITS_1;
	huart4.Init.Parity = UART_PARITY_NONE;
	huart4.Init.Mode = UART_MODE_TX_RX;
	huart4.Init.HwFlowCtl = UART_HWCONTROL_NONE;
	huart4.Init.OverSampling = UART_OVERSAMPLING_16;
	if (HAL_UART_Init(&huart4) != HAL_OK) {
		Error_Handler();
	}

	/* USER CODE END UART4_Init 2 */

}

static void MX_USART1_UART_Init(void) {

	huart1.Instance = USART1;
	huart1.Init.BaudRate = 115200;
	huart1.Init.WordLength = UART_WORDLENGTH_8B;
	huart1.Init.StopBits = UART_STOPBITS_1;
	huart1.Init.Parity = UART_PARITY_NONE;
	huart1.Init.Mode = UART_MODE_TX_RX;
	huart1.Init.HwFlowCtl = UART_HWCONTROL_CTS;
	huart1.Init.OverSampling = UART_OVERSAMPLING_16;
	if (HAL_UART_Init(&huart1) != HAL_OK) {
		Error_Handler();
	}

}

static void MX_USART2_UART_Init(void) {

	huart2.Instance = USART2;
	huart2.Init.BaudRate = 115200;
	huart2.Init.WordLength = UART_WORDLENGTH_8B;
	huart2.Init.StopBits = UART_STOPBITS_1;
	huart2.Init.Parity = UART_PARITY_NONE;
	huart2.Init.Mode = UART_MODE_TX_RX;
	huart2.Init.HwFlowCtl = UART_HWCONTROL_NONE;
	huart2.Init.OverSampling = UART_OVERSAMPLING_16;
	if (HAL_UART_Init(&huart2) != HAL_OK) {
		Error_Handler();
	}

}

static void MX_USART3_UART_Init(void) {

	huart3.Instance = USART3;
	huart3.Init.BaudRate = 115200;
	huart3.Init.WordLength = UART_WORDLENGTH_8B;
	huart3.Init.StopBits = UART_STOPBITS_1;
	huart3.Init.Parity = UART_PARITY_NONE;
	huart3.Init.Mode = UART_MODE_TX_RX;
	huart3.Init.HwFlowCtl = UART_HWCONTROL_NONE;
	huart3.Init.OverSampling = UART_OVERSAMPLING_16;
	if (HAL_UART_Init(&huart3) != HAL_OK) {
		Error_Handler();
	}

}

static void MX_USART6_Init(void) {

	husart6.Instance = USART6;
	husart6.Init.BaudRate = 115200;
	husart6.Init.WordLength = USART_WORDLENGTH_8B;
	husart6.Init.StopBits = USART_STOPBITS_1;
	husart6.Init.Parity = USART_PARITY_NONE;
	husart6.Init.Mode = USART_MODE_TX_RX;
	husart6.Init.CLKPolarity = USART_POLARITY_LOW;
	husart6.Init.CLKPhase = USART_PHASE_1EDGE;
	husart6.Init.CLKLastBit = USART_LASTBIT_DISABLE;
	if (HAL_USART_Init(&husart6) != HAL_OK) {
		Error_Handler();
	}

}

static void MX_GPIO_Init(void) {
	GPIO_InitTypeDef GPIO_InitStruct = { 0 };

	/* GPIO Ports Clock Enable */
	__HAL_RCC_GPIOC_CLK_ENABLE();
	__HAL_RCC_GPIOH_CLK_ENABLE();
	__HAL_RCC_GPIOA_CLK_ENABLE();
	__HAL_RCC_GPIOB_CLK_ENABLE();

	/*Configure GPIO pin Output Level */
	HAL_GPIO_WritePin(GPIOA, LED_Pin | beep_Pin, GPIO_PIN_RESET);

	/*Configure GPIO pins : sw0_Pin sw1_Pin sw2_Pin sw3_Pin
	 sw4_Pin sw5_Pin */
	GPIO_InitStruct.Pin = sw0_Pin | sw1_Pin | sw2_Pin | sw3_Pin | sw4_Pin
			| sw5_Pin;
	GPIO_InitStruct.Mode = GPIO_MODE_INPUT;
	GPIO_InitStruct.Pull = GPIO_NOPULL;
	HAL_GPIO_Init(GPIOC, &GPIO_InitStruct);

	/*Configure GPIO pins : LED_Pin beep_Pin */
	GPIO_InitStruct.Pin = LED_Pin | beep_Pin;
	GPIO_InitStruct.Mode = GPIO_MODE_OUTPUT_PP;
	GPIO_InitStruct.Pull = GPIO_NOPULL;
	GPIO_InitStruct.Speed = GPIO_SPEED_FREQ_LOW;
	HAL_GPIO_Init(GPIOA, &GPIO_InitStruct);

}

void Error_Handler(void) {
	__disable_irq();
	while (1) {
	}
}
